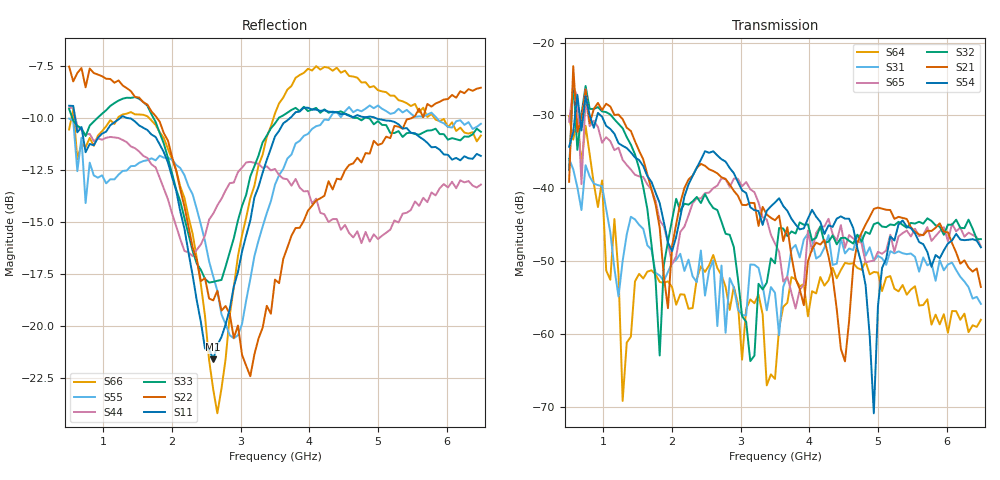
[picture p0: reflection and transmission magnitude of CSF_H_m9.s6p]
!Keysight Technologies,M9804A,MY58100912,A.14.10.03
!Date: Thursday, April 27, 2023 10:28:33
!Correction: S11(C  6-Port  )
!S12(C  6-Port  )
!S13(C  6-Port  )
!S14(C  6-Port  )
!S15(C  6-Port  )
!S16(C  6-Port  )
!S21(C  6-Port  )
!S22(C  6-Port  )
!S23(C  6-Port  )
!S24(C  6-Port  )
!S25(C  6-Port  )
!S26(C  6-Port  )
!S31(C  6-Port  )
!S32(C  6-Port  )
!S33(C  6-Port  )
!S34(C  6-Port  )
!S35(C  6-Port  )
!S36(C  6-Port  )
!S41(C  6-Port  )
!S42(C  6-Port  )
!S43(C  6-Port  )
!S44(C  6-Port  )
!S45(C  6-Port  )
!S46(C  6-Port  )
!S51(C  6-Port  )
!S52(C  6-Port  )
!S53(C  6-Port  )
!S54(C  6-Port  )
!S55(C  6-Port  )
!S56(C  6-Port  )
!S61(C  6-Port  )
!S62(C  6-Port  )
!S63(C  6-Port  )
!S64(C  6-Port  )
!S65(C  6-Port  )
!S66(C  6-Port  )
!S6P File: Measurement: :
# Hz S  RI  R 50
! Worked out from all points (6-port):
!   101 points, 500 MHz to 6.5 GHz, reference 50 ohm
!   strongest paths, dB at 500 MHz, 2 GHz, 3.5 GHz, 5 GHz, 6.5 GHz:
!     S54: -34.3, -48.6, -42.0, -56.2, -48.1
!     S21: -39.1, -48.0, -44.4, -42.7, -53.6
!     S32: -37.5, -44.3, -50.3, -44.7, -47.0
!     S65: -30.9, -50.4, -47.6, -48.7, -48.0
!     S31: -35.9, -50.3, -54.4, -49.3, -55.9
!     S64: -30.1, -53.6, -66.2, -51.6, -58.1
!   lowest |S11| = -21.6 dB at 2.6 GHz (marker M1), VSWR 1.18, Z = 42.6 + j2.04 ohm
!   |S11| at or under -10 dB: 588.1 MHz to 1.24 GHz (651.7 MHz wide, 71.3 % of centre); 1.377 GHz to 3.715 GHz (2.338 GHz wide, 91.8 % of centre); 4.975 GHz to end of sweep
